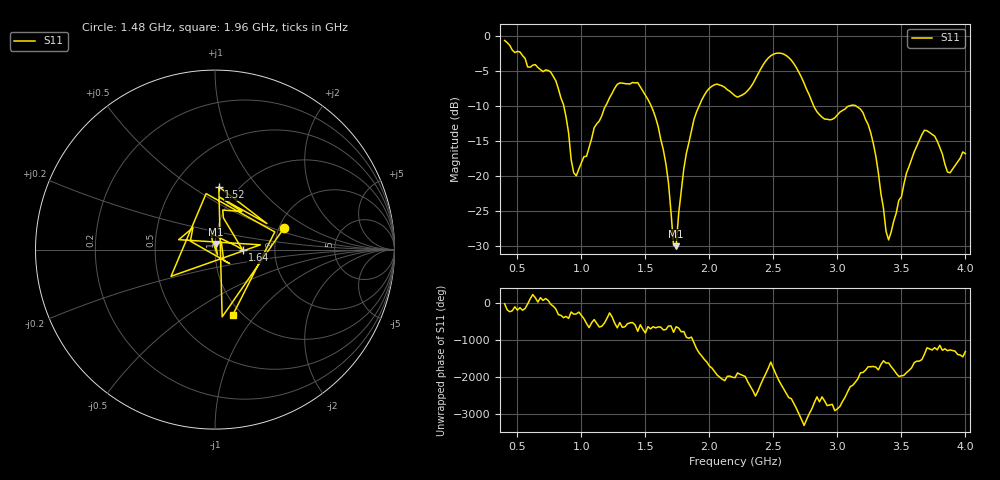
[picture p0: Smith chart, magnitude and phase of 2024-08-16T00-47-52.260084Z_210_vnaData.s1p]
!Created with skrf (http://scikit-rf.org).
# Hz S RI R 50.0
!freq ReS11 ImS11
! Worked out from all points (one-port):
!   181 points, 400 MHz to 4 GHz, reference 50 ohm
!   lowest |S11| = -30.0 dB at 1.74 GHz (marker M1), VSWR 1.07, Z = 50.2 + j3.17 ohm
!   |S11| at or under -10 dB: 862 MHz to 1.19 GHz (327.5 MHz wide, 31.9 % of centre); 1.545 GHz to 1.92 GHz (375.6 MHz wide, 21.7 % of centre); 3.144 GHz to end of sweep (the widest 3 of 4)
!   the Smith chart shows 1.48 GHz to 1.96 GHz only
!   S11 on the Smith chart (normalised r, x): 1.48 GHz: 2.13, +0.61; 1.52 GHz: 0.81, +0.65; 1.64 GHz: 1.36, -0.01; 1.96 GHz: 0.91, -0.77
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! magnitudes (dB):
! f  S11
! 400 MHz  -0.7
! 760 MHz  -5.2
! 860 MHz  -9.8
! 920 MHz  -17.7
! 960 MHz  -20.0
! 1.3 GHz  -6.7
! 1.48 GHz  -7.9
! 1.52 GHz  -9.1
! 1.64 GHz  -16.3
! 1.68 GHz  -20.9
! 1.72 GHz  -29.8
! 1.74 GHz  -30.0
! 1.76 GHz  -25.3
! 1.82 GHz  -16.8
! 1.96 GHz  -8.5
! 2.06 GHz  -6.9
! 2.2 GHz  -8.6
! 2.5 GHz  -2.7
! 2.66 GHz  -4.0
! 2.88 GHz  -11.6
! 3.1 GHz  -10.0
! 3.26 GHz  -13.8
! 3.4 GHz  -29.1
! 3.56 GHz  -18.6
! 3.68 GHz  -13.5
! 3.76 GHz  -14.3
! 3.86 GHz  -19.4
! 4 GHz  -16.8
